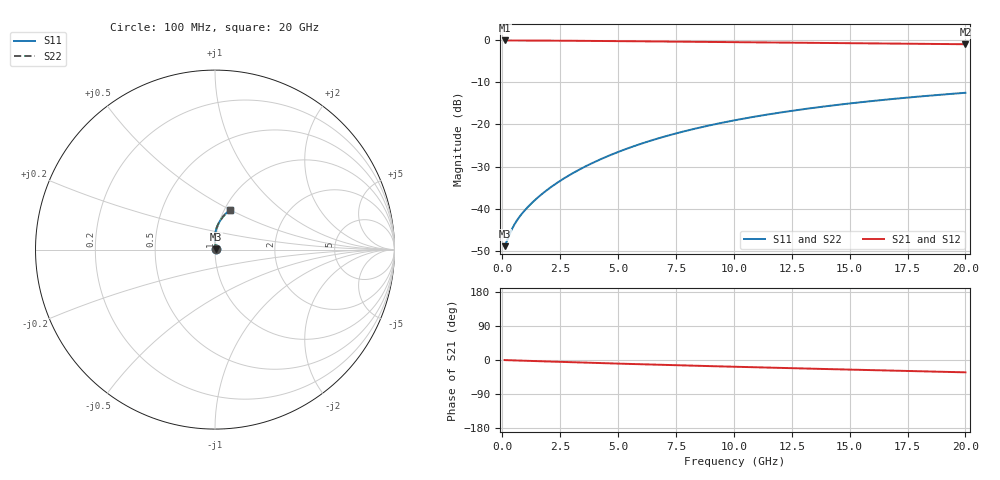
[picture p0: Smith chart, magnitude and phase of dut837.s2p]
! Touchstone file exported from HFSS 2024.1.0
!  File:  C:/UserFiles/LocalFiles/RDL_TSV_Batchsim/temp_RDL_top_837_1779855168.aedt
!  Generated:  12:14:50 PM May 27, 2026
!  Design:  RDL_top
!  Project:  temp_RDL_top_837_1779855168
!  Setup:  Setup1
!  Solution:  Sweep
! Variables:
!  dtsv = 10.80580581um
!  hbump = 3um
!  htsv = 56.19um
!  ldown = 100um
!  lrdl = 507.6um
!  p = 40
!  p1 = 42.39um
!  rhole = 1um
!  t = 450um
!  tdown = 3.915915916um
!  trdl = 2.17um
!  wdown = 15.38538539um
!  wrdl = 27.43um
# GHz S MA R 50.000000
! Terminal data exported
! Port[1] = Box2_T1
! Port[2] = Box2_T2
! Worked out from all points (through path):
!   200 points, 100 MHz to 20 GHz, reference 50 ohm
!   highest |S21| = -0.03 dB at 100 MHz (marker M1); lowest = -0.9 dB at 20 GHz (marker M2)
!   group delay of S21, straight-line fit = 4.46 ps
!   lowest |S11| = -48.9 dB at 100 MHz (marker M3), VSWR 1.01, Z = 50.3 + j0.11 ohm
!   |S11| at or under -10 dB: start of sweep to end of sweep
!   |S22| runs from -48.9 to -12.5 dB; largest |S21 - S12| = 4.3e-15
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0.1  0.00358 17.8  0.9966 -0.2  0.9966 -0.2  0.00358 17.8
! Gamma 0 0 0 0
! Port Impedance 50 0 50 0
0.4  0.005585 45.9  0.9959 -0.8  0.9959 -0.8  0.005585 45.9
0.5  0.006313 50.2  0.9957 -1.0  0.9957 -1.0  0.006313 50.2
0.6  0.007019 53.6  0.9954 -1.2  0.9954 -1.2  0.007019 53.6
0.7  0.007708 56.6  0.9952 -1.4  0.9952 -1.4  0.007709 56.6
0.9  0.009067 61.5  0.9947 -1.8  0.9947 -1.8  0.009067 61.5
1.2  0.01114 67.5  0.994 -2.4  0.994 -2.4  0.01114 67.5
1.7  0.01482 74.9  0.9928 -3.4  0.9928 -3.4  0.01482 74.9
2.2  0.01884 80.1  0.9913 -4.3  0.9913 -4.3  0.01884 80.1
2.8  0.0241 84.4  0.9891 -5.5  0.9891 -5.5  0.0241 84.4
3.5  0.03082 87.7  0.9862 -6.8  0.9862 -6.8  0.03081 87.7
4.2  0.03812 89.8  0.9829 -8.1  0.9829 -8.1  0.03811 89.7
5  0.0471 91.0  0.9787 -9.5  0.9787 -9.5  0.04709 91.0
5.9  0.05787 91.4  0.9738 -11.1  0.9738 -11.1  0.05785 91.3
6.8  0.06919 91.0  0.9687 -12.6  0.9687 -12.6  0.06917 91.0
8.4  0.09019 89.4  0.9595 -15.2  0.9595 -15.2  0.09015 89.3
10.1  0.1131 86.8  0.95 -17.9  0.95 -17.9  0.113 86.7
11.7  0.1346 84.0  0.9413 -20.4  0.9413 -20.4  0.1345 83.9
13.4  0.1571 80.9  0.9322 -23.0  0.9322 -23.0  0.157 80.8
15  0.1778 77.9  0.924 -25.3  0.924 -25.3  0.1777 77.9
16.7  0.199 74.8  0.9153 -27.8  0.9153 -27.8  0.1989 74.8
20  0.238 69.1  0.899 -32.6  0.899 -32.6  0.2379 69.1
